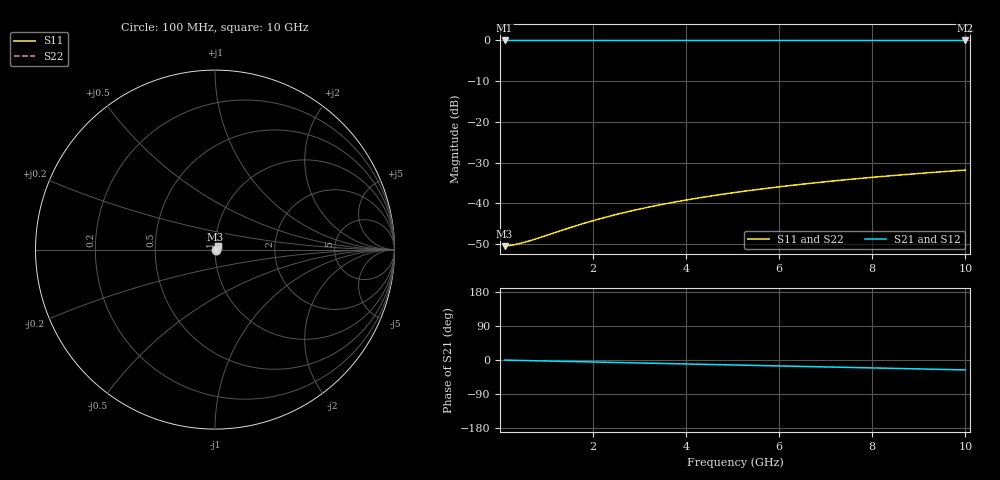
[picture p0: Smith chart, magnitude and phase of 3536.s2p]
# Hz S RI R 50.00
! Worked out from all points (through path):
!   100 points, 100 MHz to 10 GHz, reference 50 ohm
!   highest |S21| = -0.03 dB at 100 MHz (marker M1); lowest = 0.0 dB at 10 GHz (marker M2)
!   group delay of S21, straight-line fit = 7.26 ps
!   lowest |S11| = -50.5 dB at 100 MHz (marker M3), VSWR 1.01, Z = 50.3 + j0.0253 ohm
!   |S11| at or under -10 dB: start of sweep to end of sweep
!   |S22| runs from -50.5 to -31.9 dB; largest |S21 - S12| = 0
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1e8  0.00296 0.000252  0.997 -0.00454  0.997 -0.00454  0.00296 0.000252
2e8  0.00298 0.000503  0.997 -0.00908  0.997 -0.00908  0.00298 0.000503
3e8  0.003 0.000754  0.9969 -0.0136  0.9969 -0.0136  0.003 0.000754
4e8  0.00302 0.001  0.9968 -0.0182  0.9968 -0.0182  0.00302 0.001
6e8  0.00306 0.00151  0.9966 -0.0272  0.9966 -0.0272  0.00306 0.00151
8e8  0.0031 0.00201  0.9963 -0.0363  0.9963 -0.0363  0.0031 0.00201
1.5e9  0.00332 0.00375  0.9945 -0.068  0.9945 -0.068  0.00332 0.00375
1.8e9  0.00344 0.00449  0.9935 -0.0816  0.9935 -0.0816  0.00344 0.00449
2.2e9  0.00364 0.00548  0.9918 -0.0997  0.9918 -0.0997  0.00364 0.00548
2.6e9  0.00387 0.00645  0.9898 -0.1178  0.9898 -0.1178  0.00387 0.00645
3e9  0.00413 0.00741  0.9875 -0.1358  0.9875 -0.1358  0.00413 0.00741
3.4e9  0.00443 0.00837  0.9848 -0.1538  0.9848 -0.1538  0.00443 0.00837
3.8e9  0.00476 0.00931  0.9818 -0.1717  0.9818 -0.1717  0.00476 0.00931
4.2e9  0.00513 0.0102  0.9785 -0.1896  0.9785 -0.1896  0.00513 0.0102
4.6e9  0.00553 0.0111  0.9748 -0.2074  0.9748 -0.2074  0.00553 0.0111
5.1e9  0.00608 0.0123  0.9698 -0.2296  0.9698 -0.2296  0.00608 0.0123
5.9e9  0.00707 0.014  0.9607 -0.2648  0.9607 -0.2648  0.00707 0.014
6.7e9  0.00818 0.0156  0.9503 -0.2997  0.9503 -0.2997  0.00818 0.0156
7.5e9  0.00941 0.0172  0.9386 -0.3342  0.9386 -0.3342  0.00941 0.0172
8.4e9  0.0109 0.0188  0.924 -0.3725  0.924 -0.3725  0.0109 0.0188
9.2e9  0.0124 0.0202  0.9097 -0.406  0.9097 -0.406  0.0124 0.0202
1e10  0.0139 0.0214  0.8941 -0.439  0.8941 -0.439  0.0139 0.0214
